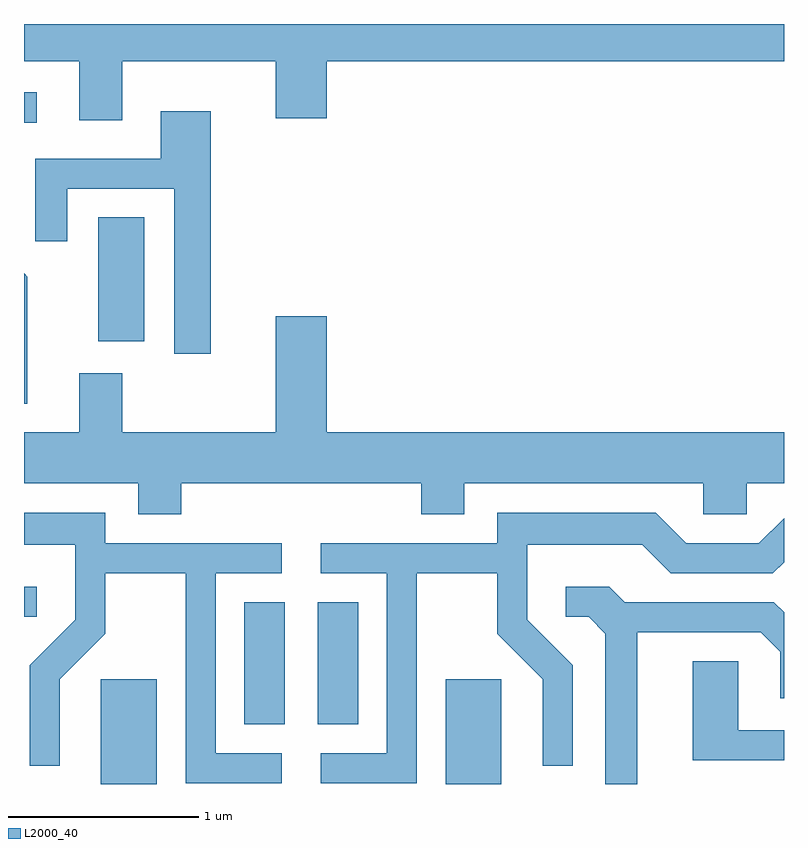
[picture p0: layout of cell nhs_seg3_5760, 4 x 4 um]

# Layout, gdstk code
import gdstk
lib = gdstk.Library(unit=1e-6, precision=1e-09)
def R(c, l, rs):  # rectangles x0, y0, x1, y1
    for r in rs: c.add(gdstk.rectangle(r[:2], r[2:], *l))
def P(c, l, *ps):  # polygons
    for p in ps: c.add(gdstk.Polygon(p, *l))
L2000_40 = (2000, 40)

nhs_seg3_5760 = lib.new_cell('nhs_seg3_5760')
R(nhs_seg3_5760, L2000_40, [(354.016,1219.892,354.309,1220.444), (355.831,1219.892,356.124,1220.444), (354.771,1220.206,354.984,1220.849), (355.156,1220.206,355.369,1220.849), (353.611,1220.771,353.678,1220.929), (354.001,1222.221,354.244,1222.874), (353.611,1223.371,353.678,1223.534)])
P(nhs_seg3_5760, L2000_40, [(354.129,1223.696),(354.936,1223.696),(354.936,1223.396),(355.204,1223.396),(355.204,1223.696),(357.611,1223.696),(357.611,1223.892),(353.611,1223.892),(353.611,1223.696),(353.901,1223.696),(353.901,1223.386),(354.129,1223.386)],
  [(354.594,1223.434),(354.331,1223.434),(354.331,1223.184),(353.671,1223.184),(353.671,1222.748),(353.839,1222.748),(353.839,1223.026),(354.401,1223.026),(354.401,1222.156),(354.594,1222.156)],
  [(353.629,1222.562),(353.611,1222.58),(353.611,1221.893),(353.629,1221.893)],
  [(354.439,1221.476),(355.701,1221.476),(355.701,1221.311),(355.929,1221.311),(355.929,1221.476),(357.186,1221.476),(357.186,1221.311),(357.414,1221.311),(357.414,1221.476),(357.611,1221.476),(357.611,1221.744),(355.204,1221.744),(355.204,1222.354),(354.936,1222.354),(354.936,1221.744),(354.129,1221.744),(354.129,1222.054),(353.901,1222.054),(353.901,1221.744),(353.611,1221.744),(353.611,1221.476),(354.211,1221.476),(354.211,1221.311),(354.439,1221.311)],
  [(355.679,1221.001),(356.101,1221.001),(356.101,1220.684),(356.341,1220.444),(356.341,1219.988),(356.499,1219.988),(356.499,1220.517),(356.259,1220.757),(356.259,1221.151),(356.864,1221.151),(357.014,1221.001),(357.552,1221.001),(357.611,1221.06),(357.611,1221.291),(357.479,1221.159),(357.097,1221.159),(356.937,1221.319),(356.101,1221.319),(356.101,1221.159),(355.173,1221.159),(355.173,1221.001),(355.521,1221.001),(355.521,1220.054),(355.173,1220.054),(355.173,1219.896),(355.679,1219.896)],
  [(354.968,1220.054),(354.619,1220.054),(354.619,1221.001),(354.968,1221.001),(354.968,1221.159),(354.039,1221.159),(354.039,1221.319),(353.611,1221.319),(353.611,1221.151),(353.881,1221.151),(353.881,1220.757),(353.641,1220.517),(353.641,1219.988),(353.799,1219.988),(353.799,1220.444),(354.039,1220.684),(354.039,1221.001),(354.461,1221.001),(354.461,1219.896),(354.968,1219.896)],
  [(356.839,1220.691),(357.489,1220.691),(357.591,1220.589),(357.591,1220.343),(357.611,1220.343),(357.611,1220.795),(357.557,1220.849),(356.772,1220.849),(356.692,1220.929),(356.463,1220.929),(356.463,1220.771),(356.584,1220.771),(356.671,1220.684),(356.671,1219.892),(356.839,1219.892)],
  [(357.611,1220.174),(357.369,1220.174),(357.369,1220.539),(357.131,1220.539),(357.131,1220.016),(357.611,1220.016)])

lib.write_gds('nhs_seg3_5760.gds')
